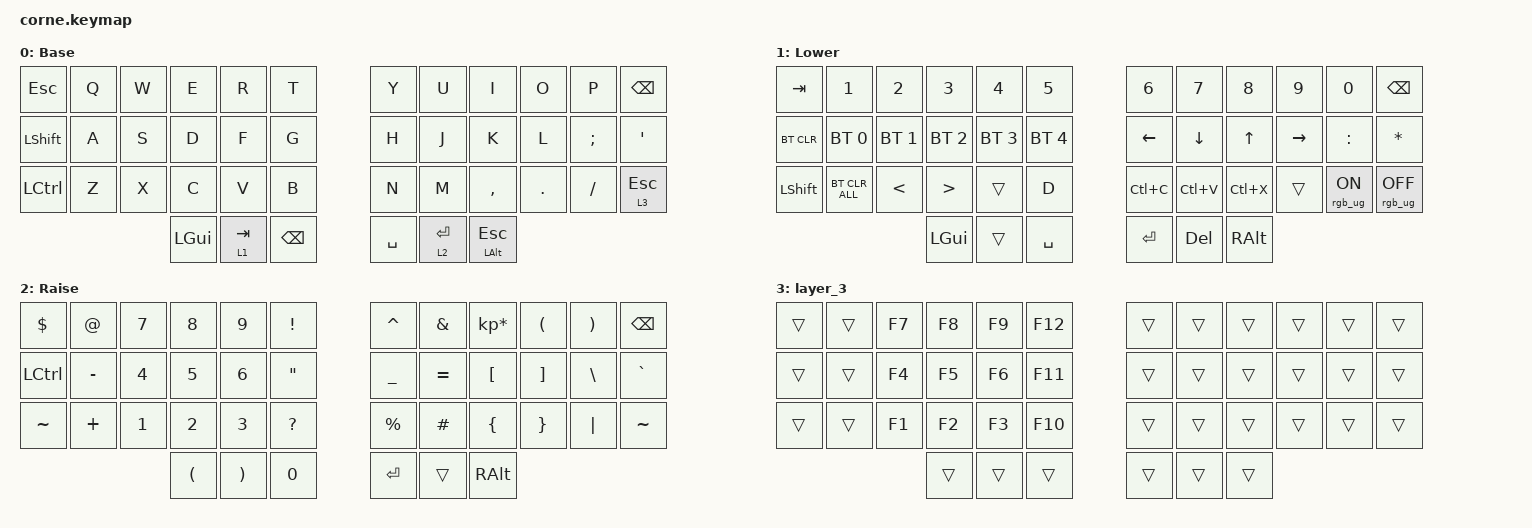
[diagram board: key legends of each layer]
/*
 * Copyright (c) 2020 The ZMK Contributors
 *
 * SPDX-License-Identifier: MIT
 */

#include <behaviors.dtsi>
#include <dt-bindings/zmk/bt.h>
#include <dt-bindings/zmk/keys.h>
#include <dt-bindings/zmk/rgb.h>

/ {
    behaviors {
        better_MT: better_MT {
            compatible = "zmk,behavior-hold-tap";
            label = "BETTER_MT";
            bindings = <&mt>, <&kp>;

            #binding-cells = <2>;
            tapping-term-ms = <10>;
            hold-trigger-key-positions = <13 14 15 16 19 20 21 22>;
        };
    };

    keymap {
        compatible = "zmk,keymap";

        default_layer {
            // -----------------------------------------------------------------------------------------
            // |  TAB |  Q  |  W  |  E  |  R  |  T  |   |  Y  |  U   |  I  |  O  |  P  | BKSP |
            // | CTRL |  A  |  S  |  D  |  F  |  G  |   |  H  |  J   |  K  |  L  |  ;  |  '   |
            // | SHFT |  Z  |  X  |  C  |  V  |  B  |   |  N  |  M   |  ,  |  .  |  /  | ESC  |
            //                    | GUI | LWR | SPC |   | ENT | RSE  | ALT |

            display-name = "Base";
            bindings = <
&kp ESCAPE      &kp Q  &kp W  &kp E     &kp R      &kp T            &kp Y      &kp U         &kp I                &kp O    &kp P     &kp BSPC
&kp LEFT_SHIFT  &kp A  &kp S  &kp D     &kp F      &kp G            &kp H      &kp J         &kp K                &kp L    &kp SEMI  &kp SQT
&kp LCTRL       &kp Z  &kp X  &kp C     &kp V      &kp B            &kp N      &kp M         &kp COMMA            &kp DOT  &kp FSLH  &lt 3 ESC
                              &kp LGUI  &lt 1 TAB  &kp BACKSPACE    &kp SPACE  &lt 2 RETURN  &mt LEFT_ALT ESCAPE
            >;
        };

        lower_layer {
            // -----------------------------------------------------------------------------------------
            // |  TAB |  1  |  2  |  3  |  4  |  5  |   |  6  |  7  |  8  |  9  |  0  | BKSP |
            // | BTCLR| BT1 | BT2 | BT3 | BT4 | BT5 |   | LFT | DWN |  UP | RGT |     |      |
            // | SHFT |     |     |     |     |     |   |     |     |     |     |     |      |
            //                    | GUI |     | SPC |   | ENT |     | ALT |

            display-name = "Lower";
            bindings = <
&kp TAB     &kp N1          &kp N2         &kp N3            &kp N4        &kp N5          &kp N6     &kp N7      &kp N8     &kp N9     &kp N0          &kp BSPC
&bt BT_CLR  &bt BT_SEL 0    &bt BT_SEL 1   &bt BT_SEL 2      &bt BT_SEL 3  &bt BT_SEL 4    &kp LEFT   &kp DOWN    &kp UP     &kp RIGHT  &kp COLON       &kp ASTERISK
&kp LSHFT   &bt BT_CLR_ALL  &kp LESS_THAN  &kp GREATER_THAN  &trans        &kp D           &kp LC(C)  &kp LC(V)   &kp LC(X)  &trans     &rgb_ug RGB_ON  &rgb_ug RGB_OFF
                                           &kp LGUI          &trans        &kp SPACE       &kp RET    &kp DELETE  &kp RALT
            >;
        };

        raise_layer {
            // -----------------------------------------------------------------------------------------
            // |  TAB |  !  |  @  |  #  |  $  |  %  |   |  ^  |  &  |  *  |  (  |  )  | BKSP |
            // | CTRL |     |     |     |     |     |   |  -  |  =  |  [  |  ]  |  \  |  `   |
            // | SHFT |     |     |     |     |     |   |  _  |  +  |  {  |  }  | "|" |  ~   |
            //                    | GUI |     | SPC |   | ENT |     | ALT |

            display-name = "Raise";
            bindings = <
&kp DOLLAR  &kp AT     &kp N7  &kp N8                &kp N9                 &kp EXCLAMATION      &kp CARET    &kp AMPS   &kp KP_MULTIPLY  &kp LEFT_PARENTHESIS  &kp RPAR  &kp BSPC
&kp LCTRL   &kp MINUS  &kp N4  &kp N5                &kp N6                 &kp DOUBLE_QUOTES    &kp UNDER    &kp EQUAL  &kp LBKT         &kp RBKT              &kp BSLH  &kp GRAVE
&kp TILDE   &kp PLUS   &kp N1  &kp N2                &kp N3                 &kp QUESTION         &kp PERCENT  &kp POUND  &kp LBRC         &kp RBRC              &kp PIPE  &kp TILDE
                               &kp LEFT_PARENTHESIS  &kp RIGHT_PARENTHESIS  &kp NUMBER_0         &kp RET      &trans     &kp RALT
            >;
        };

        layer_3 {
            bindings = <
&trans  &trans  &kp F7  &kp F8  &kp F9  &kp F12    &trans  &trans  &trans  &trans  &trans  &trans
&trans  &trans  &kp F4  &kp F5  &kp F6  &kp F11    &trans  &trans  &trans  &trans  &trans  &trans
&trans  &trans  &kp F1  &kp F2  &kp F3  &kp F10    &trans  &trans  &trans  &trans  &trans  &trans
                        &trans  &trans  &trans     &trans  &trans  &trans
            >;
        };
    };
};
